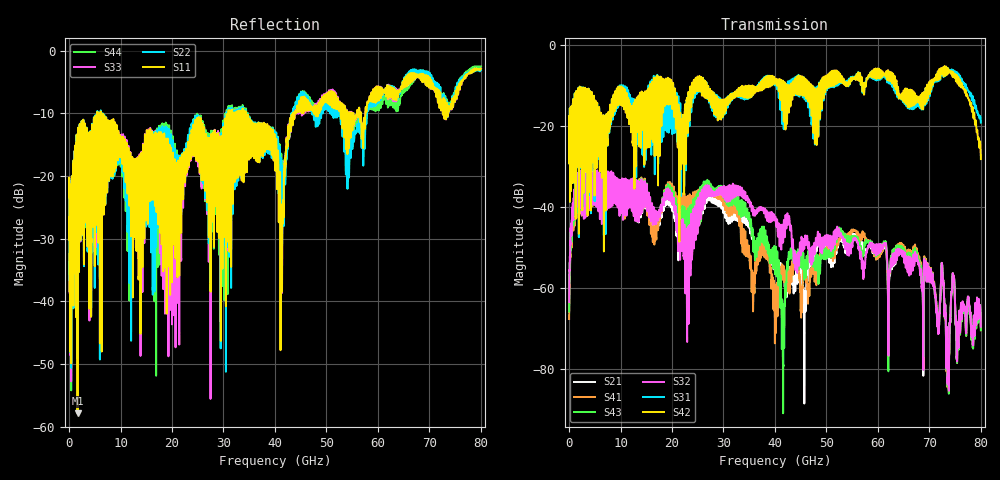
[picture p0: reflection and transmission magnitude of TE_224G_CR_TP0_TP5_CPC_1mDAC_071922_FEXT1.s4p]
!! Reference: tracy_3df_01_2211
!! CHANNEL DESCRIPTION: TP0_TP5 CR Channel using 1meter DAC, CoPackage Copper Host
!! MODEL DESCRIPTION: s4p, FEXT1
!! CONNECTOR DESCRIPTION: OSFP 200G OTB
!! CABLE DESCRIPTION: 1meter 26AWG Cable
!! MODEL STATUS: Developmental
!! PORT DEFINITIONS:
!! Port  1  ----->  Side A  Side B  <-----  Port  2
!! Port  3  ----->  Side A  Side B  <-----  Port  4
# Hz S MA R 50
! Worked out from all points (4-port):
!   8000 points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, 10 MHz to 80 GHz, reference 50 ohm
!   strongest paths, dB at 10 MHz, 20.01 GHz, 40.01 GHz, 60.01 GHz, 80 GHz:
!     S42: -24.6, -14.4, -9.7, -7.8, -28.3
!     S31: -24.6, -20.2, -10.1, -8.2, -19.3
!     S32: -63.6, -37.7, -42.7, -51.4, -69.7
!     S43: -65.9, -36.5, -56.7, -51.7, -70.5
!     S41: -67.8, -35.5, -62.4, -52.6, -70.5
!     S21: -65.9, -39.1, -54.2, -52.2, -69.7
!   lowest |S11| = -57.8 dB at 1.64 GHz (marker M1), VSWR 1.00, Z = 49.9 - j0.00396 ohm
!   |S11| at or under -10 dB: start of sweep to 5.488 GHz; 6.171 GHz to 30.97 GHz (24.8 GHz wide, 134 % of centre); 34.4 GHz to 43.55 GHz (9.158 GHz wide, 23.5 % of centre)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
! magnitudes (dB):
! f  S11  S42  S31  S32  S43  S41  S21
! 10 MHz  -23.3  -24.6  -24.6  -63.6  -65.9  -67.8  -65.9
! 1.64 GHz  -57.8  -19.6  -19.6  -34.5  -35.9  -37.7  -35.9
! 31.82 GHz  -22.6  -13.1  -13.0  -34.3  -35.4  -37.7  -38.5
! 41.57 GHz  -23.9  -9.2  -11.4  -48.5  -87.1  -56.7  -57.1
! 67.23 GHz  -4.3  -12.4  -13.4  -51.2  -50.3  -49.5  -50.4
! 73.24 GHz  -10.9  -5.4  -5.5  -73.6  -73.8  -73.9  -73.7
! 80 GHz  -2.9  -28.3  -19.3  -69.7  -70.5  -70.5  -69.7
